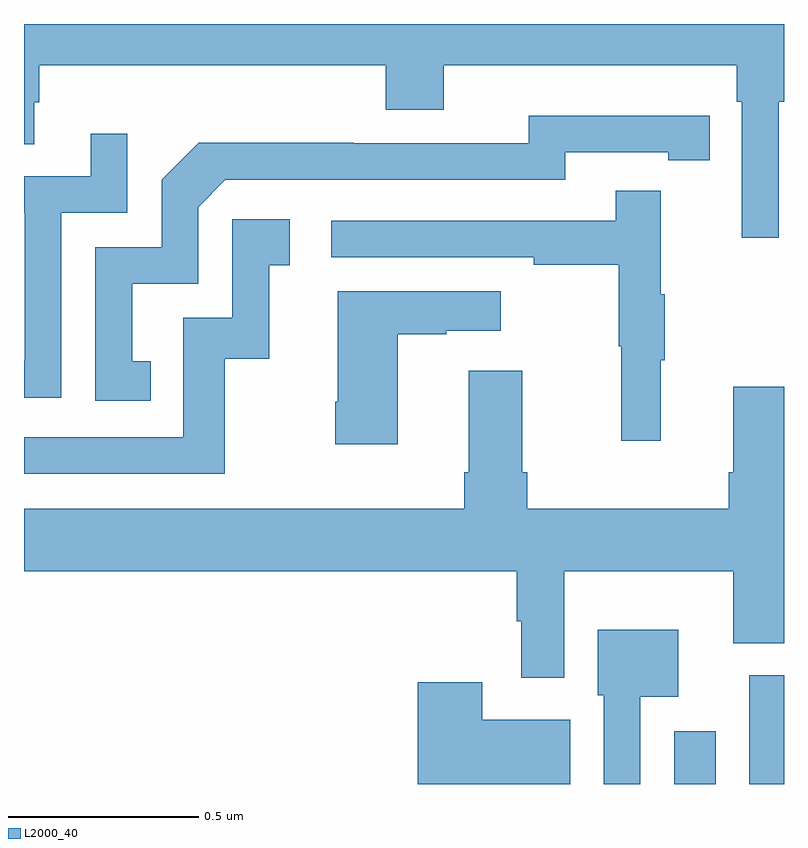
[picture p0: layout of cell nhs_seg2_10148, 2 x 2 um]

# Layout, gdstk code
import gdstk
lib = gdstk.Library(unit=1e-6, precision=1e-09)
def R(c, l, rs):  # rectangles x0, y0, x1, y1
    for r in rs: c.add(gdstk.rectangle(r[:2], r[2:], *l))
def P(c, l, *ps):  # polygons
    for p in ps: c.add(gdstk.Polygon(p, *l))
L2000_40 = (2000, 40)

nhs_seg2_10148 = lib.new_cell('nhs_seg2_10148')
R(nhs_seg2_10148, L2000_40, [(239.711,589.8,239.821,589.939), (239.909,589.8,240,590.086)])
P(nhs_seg2_10148, L2000_40, [(238,591.484),(238.027,591.484),(238.027,591.594),(238.04,591.594),(238.04,591.692),(238.952,591.692),(238.952,591.575),(239.104,591.575),(239.104,591.692),(239.876,591.692),(239.876,591.596),(239.889,591.596),(239.889,591.237),(239.986,591.237),(239.986,591.596),(240,591.596),(240,591.8),(238,591.8)],
  [(238.334,590.913),(238.285,590.913),(238.285,591.117),(238.458,591.117),(238.458,591.318),(238.53,591.39),(239.424,591.39),(239.424,591.462),(239.696,591.462),(239.696,591.442),(239.804,591.442),(239.804,591.558),(239.696,591.558),(239.696,591.559),(239.328,591.559),(239.328,591.486),(238.868,591.486),(238.868,591.488),(238.46,591.488),(238.362,591.39),(238.362,591.213),(238.188,591.213),(238.188,590.808),(238.334,590.808)],
  [(238.098,591.303),(238.272,591.303),(238.272,591.511),(238.175,591.511),(238.175,591.399),(238,591.399),(238,591.303),(238.002,591.303),(238.002,590.914),(238,590.914),(238,590.817),(238.098,590.817)],
  [(239.675,590.915),(239.686,590.915),(239.686,591.089),(239.675,591.089),(239.675,591.361),(239.557,591.361),(239.557,591.282),(238.809,591.282),(238.809,591.186),(239.341,591.186),(239.341,591.166),(239.565,591.166),(239.565,590.952),(239.572,590.952),(239.572,590.703),(239.675,590.703)],
  [(238.528,590.919),(238.646,590.919),(238.646,591.165),(238.699,591.165),(238.699,591.286),(238.548,591.286),(238.548,591.027),(238.419,591.027),(238.419,590.712),(238,590.712),(238,590.616),(238.528,590.616)],
  [(238.984,590.983),(239.111,590.983),(239.111,590.993),(239.254,590.993),(239.254,591.097),(238.826,591.097),(238.826,590.806),(238.819,590.806),(238.819,590.694),(238.984,590.694)],
  [(239.422,590.36),(239.867,590.36),(239.867,590.171),(240,590.171),(240,590.845),(239.867,590.845),(239.867,590.62),(239.855,590.62),(239.855,590.524),(239.324,590.524),(239.324,590.62),(239.311,590.62),(239.311,590.887),(239.171,590.887),(239.171,590.62),(239.159,590.62),(239.159,590.524),(238,590.524),(238,590.36),(239.297,590.36),(239.297,590.228),(239.309,590.228),(239.309,590.079),(239.422,590.079)],
  [(239.622,590.03),(239.722,590.03),(239.722,590.206),(239.51,590.206),(239.51,590.034),(239.526,590.034),(239.526,589.8),(239.622,589.8)],
  [(239.437,589.969),(239.206,589.969),(239.206,590.068),(239.036,590.068),(239.036,589.8),(239.437,589.8)])

lib.write_gds('nhs_seg2_10148.gds')
